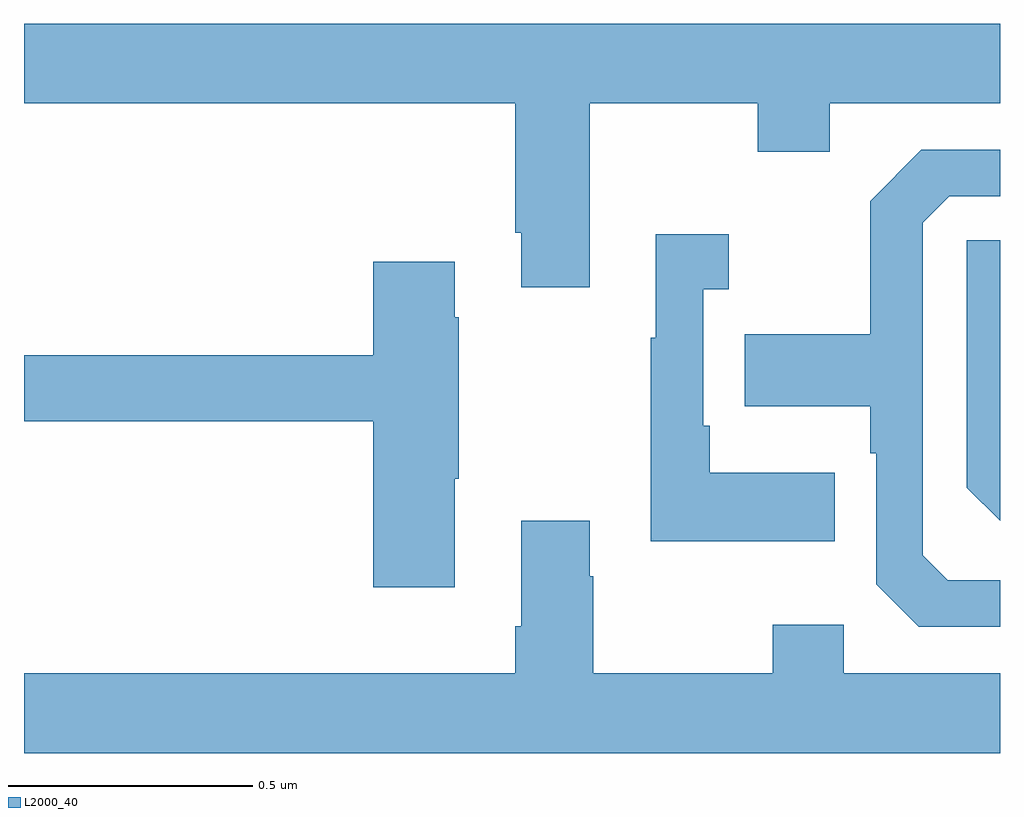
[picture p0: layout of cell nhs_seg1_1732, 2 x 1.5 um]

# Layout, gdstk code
import gdstk
lib = gdstk.Library(unit=1e-6, precision=1e-09)
def P(c, l, *ps):  # polygons
    for p in ps: c.add(gdstk.Polygon(p, *l))
L2000_40 = (2000, 40)

nhs_seg1_1732 = lib.new_cell('nhs_seg1_1732')
P(nhs_seg1_1732, L2000_40, [(133.159,581.036),(133.504,581.036),(133.504,580.937),(133.651,580.937),(133.651,581.036),(134,581.036),(134,581.199),(132,581.199),(132,581.036),(133.007,581.036),(133.007,580.771),(133.019,580.771),(133.019,580.659),(133.159,580.659)],
  [(134,580.059),(133.893,580.059),(133.842,580.11),(133.842,580.791),(133.896,580.845),(134,580.845),(134,580.941),(133.839,580.941),(133.734,580.835),(133.734,580.563),(133.477,580.563),(133.477,580.415),(133.734,580.415),(133.734,580.319),(133.746,580.319),(133.746,580.05),(133.833,579.963),(134,579.963)],
  [(133.661,580.279),(133.405,580.279),(133.405,580.375),(133.392,580.375),(133.392,580.655),(133.444,580.655),(133.444,580.768),(133.295,580.768),(133.295,580.555),(133.284,580.555),(133.284,580.139),(133.661,580.139)],
  [(134,580.755),(133.932,580.755),(133.932,580.248),(134,580.18)],
  [(132.883,580.267),(132.891,580.267),(132.891,580.598),(132.883,580.598),(132.883,580.711),(132.716,580.711),(132.716,580.52),(132,580.52),(132,580.384),(132.716,580.384),(132.716,580.044),(132.883,580.044)],
  [(134,579.868),(133.68,579.868),(133.68,579.967),(133.534,579.967),(133.534,579.868),(133.167,579.868),(133.167,580.067),(133.159,580.067),(133.159,580.18),(133.019,580.18),(133.019,579.964),(133.007,579.964),(133.007,579.868),(132,579.868),(132,579.704),(134,579.704)])

lib.write_gds('nhs_seg1_1732.gds')
